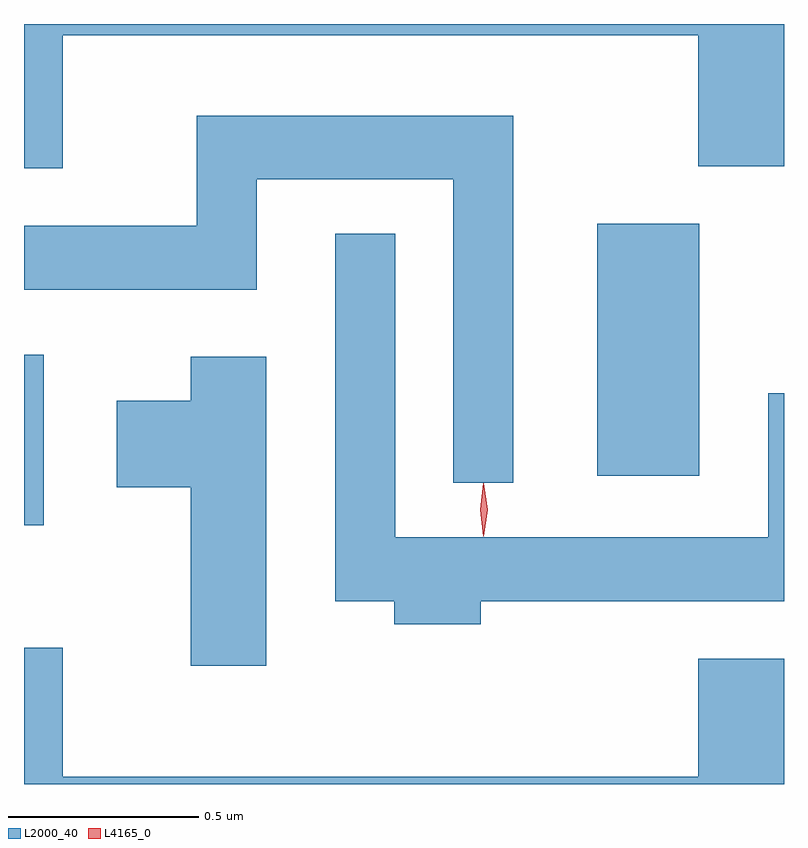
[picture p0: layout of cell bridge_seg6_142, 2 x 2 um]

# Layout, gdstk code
import gdstk
lib = gdstk.Library(unit=1e-6, precision=1e-09)
def R(c, l, rs):  # rectangles x0, y0, x1, y1
    for r in rs: c.add(gdstk.rectangle(r[:2], r[2:], *l))
def P(c, l, *ps):  # polygons
    for p in ps: c.add(gdstk.Polygon(p, *l))
L2000_40 = (2000, 40)
L4165_0 = (4165, 0)

bridge_seg6_142 = lib.new_cell('bridge_seg6_142')
R(bridge_seg6_142, L2000_40, [(1022.567,1659.746,1022.619,1660.194), (1024.076,1659.876,1024.344,1660.539)])
P(bridge_seg6_142, L2000_40, [(1022.669,1661.036),(1024.341,1661.036),(1024.341,1660.691),(1024.567,1660.691),(1024.567,1661.065),(1022.567,1661.065),(1022.567,1660.686),(1022.669,1660.686)],
  [(1023.854,1660.824),(1023.021,1660.824),(1023.021,1660.534),(1022.567,1660.534),(1022.567,1660.366),(1023.179,1660.366),(1023.179,1660.656),(1023.696,1660.656),(1023.696,1659.858),(1023.854,1659.858)],
  [(1023.769,1659.546),(1024.567,1659.546),(1024.567,1660.093),(1024.526,1660.093),(1024.526,1659.714),(1023.544,1659.714),(1023.544,1660.513),(1023.386,1660.513),(1023.386,1659.546),(1023.541,1659.546),(1023.541,1659.486),(1023.769,1659.486)],
  [(1023.204,1660.189),(1023.006,1660.189),(1023.006,1660.074),(1022.811,1660.074),(1022.811,1659.846),(1023.006,1659.846),(1023.006,1659.376),(1023.204,1659.376)],
  [(1024.567,1659.394),(1024.341,1659.394),(1024.341,1659.084),(1022.669,1659.084),(1022.669,1659.424),(1022.567,1659.424),(1022.567,1659.065),(1024.567,1659.065)])
P(bridge_seg6_142, L4165_0, [(1023.776,1659.717),(1023.767,1659.787),(1023.776,1659.856),(1023.777,1659.856),(1023.777,1659.856),(1023.787,1659.787),(1023.777,1659.717),(1023.777,1659.717)])

lib.write_gds('bridge_seg6_142.gds')
